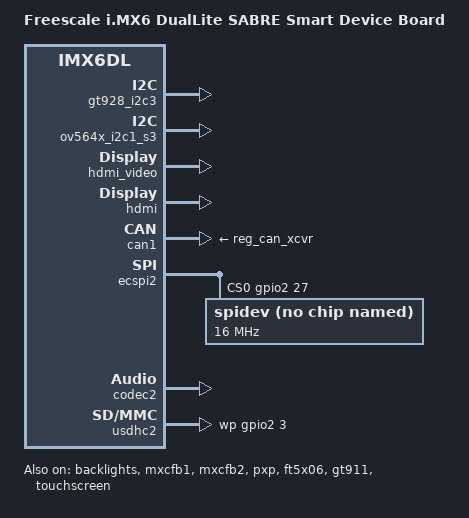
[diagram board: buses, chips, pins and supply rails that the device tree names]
/*
 * Copyright (C) 2013-2015 Freescale Semiconductor, Inc.
 *
 * This program is free software; you can redistribute it and/or modify
 * it under the terms of the GNU General Public License version 2 as
 * published by the Free Software Foundation.
 */

/dts-v1/;

#include "imx6dl.dtsi"
#include "imx6qdl-sabresd.dtsi"

/ {
	model = "Freescale i.MX6 DualLite SABRE Smart Device Board";
	compatible = "fsl,imx6dl-sabresd", "fsl,imx6dl";
};

&battery {
	offset-charger = <1485>;
	offset-discharger = <1464>;
	offset-usb-charger = <1285>;
};

&iomuxc {
        epdc {
                pinctrl_epdc_0: epdcgrp-0 {
                        fsl,pins = <
                                MX6QDL_PAD_EIM_A16__EPDC_DATA00    0x80000000
                                MX6QDL_PAD_EIM_DA10__EPDC_DATA01   0x80000000
                                MX6QDL_PAD_EIM_DA12__EPDC_DATA02   0x80000000
                                MX6QDL_PAD_EIM_DA11__EPDC_DATA03   0x80000000
                                MX6QDL_PAD_EIM_LBA__EPDC_DATA04    0x80000000
                                MX6QDL_PAD_EIM_EB2__EPDC_DATA05    0x80000000
                                MX6QDL_PAD_EIM_CS0__EPDC_DATA06    0x80000000
                                MX6QDL_PAD_EIM_RW__EPDC_DATA07     0x80000000
                                MX6QDL_PAD_EIM_A21__EPDC_GDCLK     0x80000000
                                MX6QDL_PAD_EIM_A22__EPDC_GDSP      0x80000000
                                MX6QDL_PAD_EIM_A23__EPDC_GDOE      0x80000000
                                MX6QDL_PAD_EIM_A24__EPDC_GDRL      0x80000000
                                MX6QDL_PAD_EIM_D31__EPDC_SDCLK_P   0x80000000
                                MX6QDL_PAD_EIM_D27__EPDC_SDOE      0x80000000
                                MX6QDL_PAD_EIM_DA1__EPDC_SDLE      0x80000000
                                MX6QDL_PAD_EIM_EB1__EPDC_SDSHR     0x80000000
                                MX6QDL_PAD_EIM_DA2__EPDC_BDR0      0x80000000
                                MX6QDL_PAD_EIM_DA4__EPDC_SDCE0     0x80000000
                                MX6QDL_PAD_EIM_DA5__EPDC_SDCE1     0x80000000
                                MX6QDL_PAD_EIM_DA6__EPDC_SDCE2     0x80000000
                        >;
                };
        };
};

&epdc {
        pinctrl-names = "default";
        pinctrl-0 = <&pinctrl_epdc_0>;
        V3P3-supply = <&V3P3_reg>;
        VCOM-supply = <&VCOM_reg>;
        DISPLAY-supply = <&DISPLAY_reg>;
	status = "disabled";
};

&i2c3 {
        max17135@48 {
                compatible = "maxim,max17135";
                reg = <0x48>;
                vneg_pwrup = <1>;
                gvee_pwrup = <1>;
                vpos_pwrup = <2>;
                gvdd_pwrup = <1>;
                gvdd_pwrdn = <1>;
                vpos_pwrdn = <2>;
                gvee_pwrdn = <1>;
                vneg_pwrdn = <1>;
                SENSOR-supply = <&reg_sensor>;
                gpio_pmic_pwrgood = <&gpio2 21 0>;
                gpio_pmic_vcom_ctrl = <&gpio3 17 0>;
                gpio_pmic_wakeup = <&gpio3 20 0>;
                gpio_pmic_v3p3 = <&gpio2 20 0>;
                gpio_pmic_intr = <&gpio2 25 0>;
		status = "disabled";

                regulators {
                        DISPLAY_reg: DISPLAY {
                                regulator-name = "DISPLAY";
                        };

                        GVDD_reg: GVDD {
                                /* 20v */
                                regulator-name = "GVDD";
                        };

                        GVEE_reg: GVEE {
                                /* -22v */
                                regulator-name = "GVEE";
                        };

                        HVINN_reg: HVINN {
                                /* -22v */
                                regulator-name = "HVINN";
                        };

                        HVINP_reg: HVINP {
                                /* 20v */
                                regulator-name = "HVINP";
                        };

                        VCOM_reg: VCOM {
                                regulator-name = "VCOM";
                                /* 2's-compliment, -4325000 */
                                regulator-min-microvolt = <0xffbe0178>;
                                /* 2's-compliment, -500000 */
                                regulator-max-microvolt = <0xfff85ee0>;
                        };

                        VNEG_reg: VNEG {
                                /* -15v */
                                regulator-name = "VNEG";
                        };

                        VPOS_reg: VPOS {
                                /* 15v */
                                regulator-name = "VPOS";
                        };

                        V3P3_reg: V3P3 {
                                regulator-name = "V3P3";
                        };
                };
        };
};

&ldb {
	lvds-channel@0 {
		crtc = "ipu1-di1";
		primary;
	};

	lvds-channel@1 {
		crtc = "ipu1-di0";
	};
};

&backlights {
        pwms = <&pwm3 0 5000000>;
        status = "okay";
};

&mxcfb1 {
	compatible = "fsl,mxc_sdc_fb";
        disp_dev = "lcd";
        mode_str ="CLAA-WVGA";
        interface_pix_fmt = "RGB24";
        default_bpp = <16>;
        int_clk = <0>;
        late_init = <0>;
	status = "okay";
};

&mxcfb2 {
	status = "okay";
};

&pxp {
	status = "okay";
};

&rx8010 {
        interrupt-parent = <&gpio1>;
        interrupts = <20 1>;
};

&ft5x06 {
        status = "okay";
};

&gt911 {
        status = "okay";
};

&gt928_i2c3 {
        status = "okay";
};

&ov564x_i2c1_s3 {
        status = "okay";
};

&hdmi_video {
        pinctrl-names = "default";
        pinctrl-0 = <&pinctrl_hdmi_hdcp>;
        fsl,hdcp;
        status = "okay";
};


&hdmi {
        status = "okay";
};

&can1 {
        status = "okay";
        pinctrl-names = "default";
        pinctrl-0 = <&pinctrl_can1>;
        xceiver-supply  = <&reg_can_xcvr>;
};


&ecspi1 {                   
	fsl,spi-num-chipselects = <1>;
        cs-gpios = <&gpio4 9 0>;
        pinctrl-names = "default";
        pinctrl-0 = <&pinctrl_ecspi1>;
        status = "disable";         
                                    
        flash: m25p80@0 {          
                #address-cells = <1>;
                #size-cells = <1>;
                compatible = "st,m25p32";
                spi-max-frequency = <20000000>;
                reg = <0>;                    
        };                                   
};

&ecspi2 {
        fsl,spi-num-chipselects = <1>;
        cs-gpios = <&gpio2 27 0>;
        pinctrl-names = "default";
        pinctrl-0 = <&pinctrl_ecspi2>;
        status = "okay";

        spidev: spidev@0 {
                #address-cells = <1>;
                #size-cells = <1>;
                compatible = "rohm,dh2228fv";
                spi-max-frequency = <16000000>;
                reg = <0>;
        };
};

&touchscreen {
	status = "okay";
};

&codec2 {
        status = "okay";
};

&mx6sound {
        compatible = "fsl,imx6q-sabresd-wm8960",
                   "fsl,imx-audio-wm8960";
        model = "wm8960-audio";
        audio-codec = <&codec2>;
        audio-routing =
                "Headphone Jack", "HP_L",
                "Headphone Jack", "HP_R",
                "Ext Spk", "SPK_RP",
                "Ext Spk", "SPK_RN",
                "Ext Spk", "SPK_LP",
                "Ext Spk", "SPK_LN",
                "AMIC", "MICB",
                "LINPUT1", "AMIC",
                "LINPUT2", "AMIC",
                "RINPUT1", "AMIC",
                "RINPUT2", "AMIC",
                "LINPUT3", "AMIC",
                "RINPUT3", "AMIC",
                "DMIC", "MICB",
                "LINPUT1", "DMIC",
                "LINPUT2", "DMIC",
                "RINPUT1", "DMIC",
                "RINPUT2", "DMIC",
                "CPU-Playback", "ASRC-Playback",
                "Playback", "CPU-Playback",
                "ASRC-Capture", "CPU-Capture",
                "CPU-Capture", "Capture";
        hp-det-gpios = <&gpio7 8 0>;
};

&usdhc2 {
        wp-gpios = <&gpio2 3 GPIO_ACTIVE_HIGH>;
};

